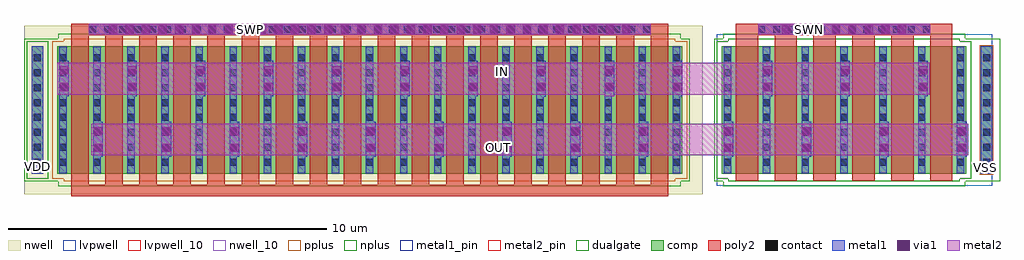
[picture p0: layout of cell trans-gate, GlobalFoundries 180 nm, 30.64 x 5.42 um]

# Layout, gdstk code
import gdstk
lib = gdstk.Library(unit=1e-6, precision=1e-09)
def R(c, l, rs):  # rectangles x0, y0, x1, y1
    for r in rs: c.add(gdstk.rectangle(r[:2], r[2:], *l))
def A(c, l, x, y, w, h, nx, ny, dx, dy):  # array of equal rectangles
    R(c, l, [(x+i*dx, y+j*dy, x+i*dx+w, y+j*dy+h) for i in range(nx) for j in range(ny)])
nwell = (21, 0)
nwell_10 = (21, 10)
comp = (22, 0)
poly2 = (30, 0)
pplus = (31, 0)
nplus = (32, 0)
contact = (33, 0)
metal1 = (34, 0)
metal1_pin = (34, 10)
via1 = (35, 0)
metal2 = (36, 0)
metal2_pin = (36, 10)
dualgate = (55, 0)
lvpwell = (204, 0)
lvpwell_10 = (204, 10)

pfet_06v0_ljss4l = lib.new_cell('pfet_06v0_LJSS4L')
R(pfet_06v0_ljss4l, nwell, [(-10.24,-2.65,10.24,2.65)])
R(pfet_06v0_ljss4l, comp, [(-9.81,-2,9.81,2)])
A(pfet_06v0_ljss4l, poly2, -9.37, -2.22, 0.55, 4.44, 18, 1, 1.07, 0)
R(pfet_06v0_ljss4l, pplus, [(-9.6,-2.23,9.6,-2.16), (-9.97,-2.16,9.97,2.16), (-9.6,2.16,9.6,2.23)])
A(pfet_06v0_ljss4l, contact, -9.74, -1.755, 0.22, 0.22, 19, 8, 1.07, 0.47)
A(pfet_06v0_ljss4l, metal1, -9.745, -1.99, 0.23, 3.98, 19, 1, 1.07, 0)
R(pfet_06v0_ljss4l, dualgate, [(-9.77,-2.4,9.77,-2.24), (-10.05,-2.24,10.05,2.24), (-9.77,2.24,9.77,2.4)])

nfet_06v0_42fnxl = lib.new_cell('nfet_06v0_42FNXL')
R(nfet_06v0_42fnxl, comp, [(-3.84,-2,3.84,2)])
A(nfet_06v0_42fnxl, poly2, -3.4, -2.22, 0.7, 4.44, 6, 1, 1.22, 0)
R(nfet_06v0_42fnxl, nplus, [(-3.63,-2.23,3.63,-2.16), (-4,-2.16,4,2.16), (-3.63,2.16,3.63,2.23)])
A(nfet_06v0_42fnxl, contact, -3.77, -1.755, 0.22, 0.22, 7, 8, 1.22, 0.47)
A(nfet_06v0_42fnxl, metal1, -3.775, -1.99, 0.23, 3.98, 7, 1, 1.22, 0)
R(nfet_06v0_42fnxl, dualgate, [(-3.8,-2.4,3.8,-2.24), (-4.08,-2.24,4.08,2.24), (-3.8,2.24,3.8,2.4)])
R(nfet_06v0_42fnxl, lvpwell, [(-4,-2.38,4,2.38)])

trans_gate = lib.new_cell('trans-gate')
R(trans_gate, nwell, [(-7.2,9.7,-6.595,15), (8.8,9.7,14.1,15)])
R(trans_gate, nwell_10, [(-6.905,10.46,-6.675,10.69)])
R(trans_gate, comp, [(-6.965,10.35,-6.605,14.35), (22.835,10.35,23.195,14.35)])
A(trans_gate, poly2, -5.725, 10, 0.55, 0.13, 18, 2, 1.07, 4.57)
A(trans_gate, poly2, 15.14, 14.57, 0.7, 0.13, 6, 1, 1.22, 0)
R(trans_gate, poly2, [(-5.725,9.64,13.015,10), (-5.725,14.7,13.015,15.06), (15.14,14.7,21.94,15.06)])
R(trans_gate, pplus, [(22.805,10.32,23.225,14.38)])
R(trans_gate, nplus, [(-7.125,10.19,-6.445,14.51)])
A(trans_gate, contact, -6.895, 10.595, 0.22, 0.22, 1, 8, 0, 0.47)
A(trans_gate, contact, 22.905, 10.595, 0.22, 0.22, 1, 8, 0, 0.47)
A(trans_gate, contact, -5.16, 14.77, 0.22, 0.22, 38, 1, 0.47, 0)
A(trans_gate, contact, 15.845, 14.77, 0.22, 0.22, 12, 1, 0.47, 0)
A(trans_gate, metal1, -5.03, 10.875, 0.3, 1.1, 9, 1, 2.14, 0)
A(trans_gate, metal1, 14.765, 10.875, 0.3, 1.1, 4, 1, 2.44, 0)
A(trans_gate, metal1, -6.1, 12.78, 0.3, 1.11, 7, 1, 2.14, 0)
A(trans_gate, metal1, 15.985, 12.78, 0.3, 1.11, 3, 1, 2.44, 0)
A(trans_gate, metal1, -5.03, 13.83, 0.23, 0.06, 8, 1, 2.14, 0)
R(trans_gate, metal1, [(-6.965,10.35,-6.605,14.35), (22.835,10.35,23.195,14.35), (8.88,12.77,9.18,13.89), (11.02,12.78,11.32,13.89), (13.16,12.78,13.46,13.89), (-5.175,14.71,12.465,15.05), (15.84,14.71,21.24,15.05)])
R(trans_gate, metal1_pin, [(-0.22,14.765,0.01,14.995)])
A(trans_gate, via1, -5.01, 11.035, 0.26, 0.26, 9, 2, 2.14, 0.52)
A(trans_gate, via1, 14.785, 11.035, 0.26, 0.26, 4, 2, 2.44, 0.52)
A(trans_gate, via1, -6.08, 12.945, 0.26, 0.26, 10, 2, 2.14, 0.52)
A(trans_gate, via1, 16.005, 12.945, 0.26, 0.26, 3, 2, 2.44, 0.52)
A(trans_gate, via1, -4.545, 14.75, 0.26, 0.26, 32, 1, 0.52, 0)
A(trans_gate, via1, 16.59, 14.75, 0.26, 0.26, 8, 1, 0.52, 0)
R(trans_gate, metal2, [(-5.09,10.925,22.445,11.925), (11.02,12.78,11.32,12.83), (-6.16,12.83,21.225,13.84), (-5.175,14.71,12.465,15.05), (15.84,14.71,21.24,15.05)])
R(trans_gate, metal2_pin, [(7.57,11.06,7.8,11.29), (7.69,13.435,7.92,13.665), (17.33,14.765,17.56,14.995)])
R(trans_gate, dualgate, [(-7.205,10.11,-6.365,14.59), (22.595,10.11,23.435,14.59)])
R(trans_gate, lvpwell, [(22.54,9.97,23.195,14.73)])
R(trans_gate, lvpwell_10, [(22.88,10.445,23.11,10.675)])
trans_gate.add(gdstk.Reference(pfet_06v0_ljss4l, (3.645,12.35)))
trans_gate.add(gdstk.Reference(nfet_06v0_42fnxl, (18.54,12.35)))
trans_gate.add(gdstk.Label('SWP', (-0.105,14.88), layer=30, texttype=10))
trans_gate.add(gdstk.Label('IN', (7.805,13.55), layer=36, texttype=10))
trans_gate.add(gdstk.Label('OUT', (7.685,11.175), layer=36, texttype=10))
trans_gate.add(gdstk.Label('VDD', (-6.79,10.575), layer=21, texttype=10))
trans_gate.add(gdstk.Label('VSS', (22.995,10.56), layer=204, texttype=10))
trans_gate.add(gdstk.Label('SWN', (17.445,14.88), layer=36, texttype=10))

lib.write_gds('trans-gate.gds')
